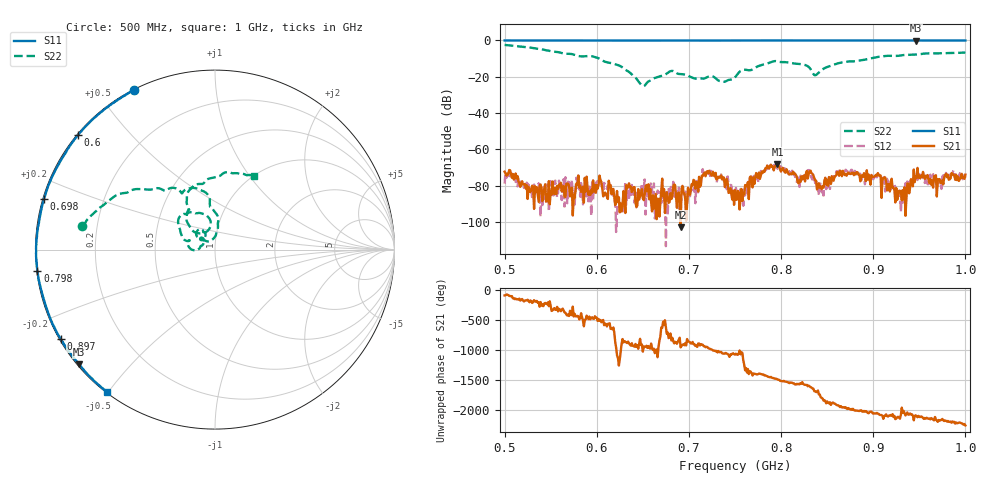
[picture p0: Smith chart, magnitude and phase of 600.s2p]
#  HZ  S  DB  R  50.00
! Rohde & Schwarz ZVB8 2Ports - Version 2.81 - 1145.1010k08 SN: 100113
! Date: 2014-04-03 01:51:14
! Measurements: S11 S21 S12 S22
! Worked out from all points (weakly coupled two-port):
!   501 points, 500 MHz to 1 GHz, reference 50 ohm
!   highest |S21| = -68.19 dB at 796 MHz (marker M1); lowest = -102.9 dB at 691 MHz (marker M2)
!   lowest |S11| = -0.1 dB at 946 MHz (marker M3), VSWR 195.00, Z = 0.291 - j18.3 ohm
!   |S11| at or under -10 dB: nowhere
!   |S22| runs from -25.2 to -2.5 dB; largest |S21 - S12| = 0.00031
!   S11 on the Smith chart (normalised r, x): 500 MHz: 0.00, +0.61; 600 MHz: 0.00, +0.36; 698 MHz: 0.00, +0.15; 798 MHz: 0.00, -0.06; 897 MHz: 0.00, -0.27; 1 GHz: 0.00, -0.50
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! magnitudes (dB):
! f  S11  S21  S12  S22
! 500 MHz  0.0  -72.3  -78.9  -2.5
! 509 MHz  0.0  -73.7  -73.7  -2.9
! 525 MHz  0.0  -87.3  -79.1  -3.8
! 584 MHz  0.0  -82.7  -81.9  -8.8
! 600 MHz  0.0  -79.7  -77.8  -9.5
! 650 MHz  -0.1  -87.0  -80.4  -25.1
! 667 MHz  0.0  -87.4  -83.6  -20.1
! 691 MHz  -0.1  -102.9  -86.2  -18.5
! 698 MHz  -0.1  -90.5  -89.7  -19.1
! 724 MHz  -0.1  -74.0  -71.3  -19.7
! 750 MHz  0.0  -82.5  -85.7  -20.4
! 796 MHz  0.0  -68.2  -70.7  -11.5
! 798 MHz  0.0  -70.0  -69.1  -11.8
! 819 MHz  -0.1  -78.8  -75.6  -12.9
! 834 MHz  -0.1  -73.5  -76.7  -17.6
! 844 MHz  -0.1  -82.0  -83.7  -16.4
! 863 MHz  -0.1  -74.6  -71.8  -12.4
! 897 MHz  -0.1  -79.5  -75.9  -10.0
! 917 MHz  -0.1  -79.3  -79.5  -8.5
! 938 MHz  -0.1  -79.1  -78.9  -8.0
! 946 MHz  -0.1  -75.2  -74.6  -7.8
! 1 GHz  0.0  -73.9  -75.7  -6.7
